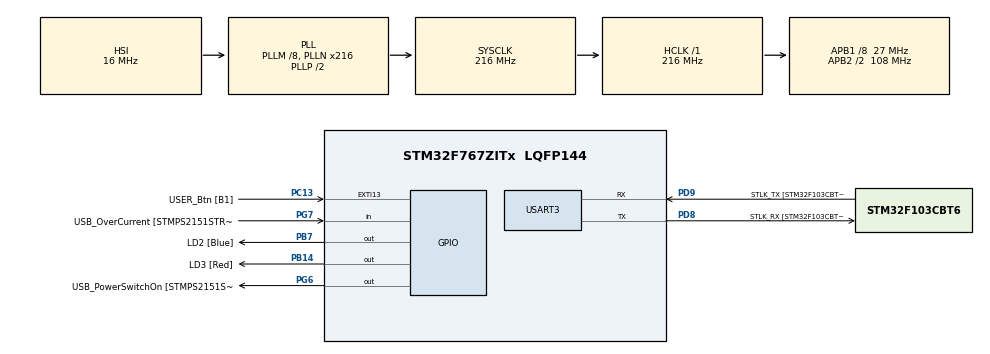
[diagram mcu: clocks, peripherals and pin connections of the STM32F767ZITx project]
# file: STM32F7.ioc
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Mcu.Family=STM32F7
Mcu.Name=STM32F767ZITx
Mcu.Package=LQFP144
NVIC.EXTI15_10_IRQn=true\:0\:0\:false\:false\:true\:true
NVIC.PriorityGroup=NVIC_PRIORITYGROUP_4
NVIC.TIM6_DAC_IRQn=true\:0\:0\:false\:false\:true\:true
NVIC.USART3_IRQn=true\:0\:0\:false\:false\:true\:true
NVIC.WWDG_IRQn=true\:0\:0\:false\:false\:true\:true
PA1.Signal=ETH_RX_CLK
PA10.GPIO_Label=USB_ID
PA10.Signal=USB_OTG_FS_ID
PA11.GPIO_Label=USB_DM
PA11.Signal=USB_OTG_FS_DM
PA12.GPIO_Label=USB_DP
PA12.Signal=USB_OTG_FS_DP
PA13.GPIO_Label=TMS
PA13.Mode=Serial_Wire
PA13.Signal=SYS_JTMS-SWDIO
PA14.GPIO_Label=TCK
PA14.Mode=Serial_Wire
PA14.Signal=SYS_JTCK-SWCLK
PA2.GPIO_Label=RMII_MDIO [LAN8742A-CZ-TR_MDIO]
PA2.Signal=ETH_MDIO
PA7.Signal=ETH_RX_DV
PA8.GPIO_Label=USB_SOF [TP1]
PA8.Signal=USB_OTG_FS_SOF
PA9.GPIO_Label=USB_VBUS
PA9.Signal=USB_OTG_FS_VBUS
PB13.GPIO_Label=RMII_TXD1 [LAN8742A-CZ-TR_TXD1]
PB13.Signal=ETH_TXD1
PB14.GPIO_Label=LD3 [Red]
PB14.Signal=GPIO_Output
PB3.GPIO_Label=SW0
PB3.Signal=SYS_JTDO-SWO
PB7.GPIO_Label=LD2 [Blue]
PB7.Signal=GPIO_Output
PC1.GPIO_Label=RMII_MDC [LAN8742A-CZ-TR_MDC]
PC1.Signal=ETH_MDC
PC13.GPIO_Label=USER_Btn [B1]
PC13.Signal=GPXTI13
PC14/OSC32_IN.Signal=RCC_OSC32_IN
PC15/OSC32_OUT.Signal=RCC_OSC32_OUT
PC4.GPIO_Label=RMII_RXD0 [LAN8742A-CZ-TR_RXD0]
PC4.Signal=ETH_RXD0
PC5.GPIO_Label=RMII_RXD1 [LAN8742A-CZ-TR_RXD1]
PC5.Signal=ETH_RXD1
PD8.GPIO_Label=STLK_RX [STM32F103CBT6_PA3]
PD8.Mode=Asynchronous
PD8.Signal=USART3_TX
PD9.GPIO_Label=STLK_TX [STM32F103CBT6_PA2]
PD9.Mode=Asynchronous
PD9.Signal=USART3_RX
PG11.GPIO_Label=RMII_TX_EN [LAN8742A-CZ-TR_TXEN]
PG11.Signal=ETH_TX_EN
PG13.GPIO_Label=RMII_TXD0 [LAN8742A-CZ-TR_TXD0]
PG13.Signal=ETH_TXD0
PG6.GPIO_Label=USB_PowerSwitchOn [STMPS2151STR_EN]
PG6.Signal=GPIO_Output
PG7.GPIO_Label=USB_OverCurrent [STMPS2151STR_FAULT]
PG7.Signal=GPIO_Input
PH0/OSC_IN.GPIO_Label=MCO [STM32F103CBT6_PA8]
PH0/OSC_IN.Signal=RCC_OSC_IN
PH1/OSC_OUT.Signal=RCC_OSC_OUT
ProjectManager.HeapSize=0x200
ProjectManager.StackSize=0x400
ProjectManager.TargetToolchain=Makefile
RCC.48MHZClocksFreq_Value=24000000
RCC.AHBFreq_Value=216000000
RCC.APB1CLKDivider=RCC_HCLK_DIV8
RCC.APB1Freq_Value=27000000
RCC.APB1TimFreq_Value=54000000
RCC.APB2CLKDivider=RCC_HCLK_DIV2
RCC.APB2Freq_Value=108000000
RCC.APB2TimFreq_Value=216000000
RCC.CortexFreq_Value=216000000
RCC.HCLKFreq_Value=216000000
RCC.HSE_VALUE=16000000
RCC.HSI_VALUE=16000000
RCC.LSE_VALUE=32768
RCC.PLLM=8
RCC.PLLMUL=RCC_PLL_MUL9
RCC.PLLN=216
RCC.PLLQ=9
RCC.PRESCALERUSB=RCC_USBCLKSOURCE_PLL_DIV1_5
RCC.SYSCLKFreq_VALUE=216000000
RCC.SYSCLKSource=RCC_SYSCLKSOURCE_PLLCLK
RCC.SYSCLKSourceVirtual=RCC_SYSCLKSOURCE_PLLCLK
RCC.USART3CLockSelection=RCC_USART3CLKSOURCE_HSI
RCC.USBFreq_Value=48000000
RCC.VCOOutputFreq_Value=432000000
TIM6.Period=500
TIM6.Prescaler=53999
TIM6.TIM_MasterOutputTrigger=TIM_TRGO_UPDATE
USART3.VirtualMode-Asynchronous=VM_ASYNC
USART3.WordLength=WORDLENGTH_8B
VP_TIM6_VS_ClockSourceINT.Mode=Enable_Timer
VP_WWDG_VS_WWDG.Mode=WWDG_Activate
WWDG.Counter=127
WWDG.EWIMode=WWDG_EWI_ENABLE
WWDG.Prescaler=WWDG_PRESCALER_8
WWDG.Window=120
board=NUCLEO-F767ZI

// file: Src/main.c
/**
  ******************************************************************************
  * @file           : main.c
  * @brief          : Main program body
  ******************************************************************************
  ** This notice applies to any and all portions of this file
  * that are not between comment pairs USER CODE BEGIN and
  * USER CODE END. Other portions of this file, whether
  * inserted by the user or by software development tools
  * are owned by their respective copyright owners.
  *
  * COPYRIGHT(c) 2018 STMicroelectronics
  *
  * Redistribution and use in source and binary forms, with or without modification,
  * are permitted provided that the following conditions are met:
  *   1. Redistributions of source code must retain the above copyright notice,
  *      this list of conditions and the following disclaimer.
  *   2. Redistributions in binary form must reproduce the above copyright notice,
  *      this list of conditions and the following disclaimer in the documentation
  *      and/or other materials provided with the distribution.
  *   3. Neither the name of STMicroelectronics nor the names of its contributors
  *      may be used to endorse or promote products derived from this software
  *      without specific prior written permission.
  *
  * THIS SOFTWARE IS PROVIDED BY THE COPYRIGHT HOLDERS AND CONTRIBUTORS "AS IS"
  * AND ANY EXPRESS OR IMPLIED WARRANTIES, INCLUDING, BUT NOT LIMITED TO, THE
  * IMPLIED WARRANTIES OF MERCHANTABILITY AND FITNESS FOR A PARTICULAR PURPOSE ARE
  * DISCLAIMED. IN NO EVENT SHALL THE COPYRIGHT HOLDER OR CONTRIBUTORS BE LIABLE
  * FOR ANY DIRECT, INDIRECT, INCIDENTAL, SPECIAL, EXEMPLARY, OR CONSEQUENTIAL
  * DAMAGES (INCLUDING, BUT NOT LIMITED TO, PROCUREMENT OF SUBSTITUTE GOODS OR
  * SERVICES; LOSS OF USE, DATA, OR PROFITS; OR BUSINESS INTERRUPTION) HOWEVER
  * CAUSED AND ON ANY THEORY OF LIABILITY, WHETHER IN CONTRACT, STRICT LIABILITY,
  * OR TORT (INCLUDING NEGLIGENCE OR OTHERWISE) ARISING IN ANY WAY OUT OF THE USE
  * OF THIS SOFTWARE, EVEN IF ADVISED OF THE POSSIBILITY OF SUCH DAMAGE.
  *
  ******************************************************************************
  */
#include "main.h"
#include "stm32f7xx_hal.h"

/* USER CODE BEGIN Includes */
#include "stm32f7xx_hal_usart.h"
#include "console.h"
#include "fifo.h"
/* USER CODE END Includes */

TIM_HandleTypeDef htim6;

UART_HandleTypeDef huart3;

WWDG_HandleTypeDef hwwdg;

/* USER CODE BEGIN PV */
/* Private variables ---------------------------------------------------------*/
uint8_t buf;
/* USER CODE END PV */

void SystemClock_Config(void);
static void MX_GPIO_Init(void);
static void MX_TIM6_Init(void);
static void MX_USART3_UART_Init(void);
static void MX_WWDG_Init(void);

/* USER CODE BEGIN PFP */
/* Private function prototypes -----------------------------------------------*/
void tim6_it_toggle();

/* USER CODE END PFP */

/* USER CODE BEGIN 0 */
short tim6_it_toggle_state = 1;
uint8_t r_buf[128];
/* USER CODE END 0 */

int main(void)
{

  /* MCU Configuration----------------------------------------------------------*/

  /* Reset of all peripherals, Initializes the Flash interface and the Systick. */
  HAL_Init();

  /* Configure the system clock */
  SystemClock_Config();

  /* Initialize all configured peripherals */
  MX_GPIO_Init();
  MX_TIM6_Init();
  MX_USART3_UART_Init();
  MX_WWDG_Init();
  /* USER CODE BEGIN 2 */

  HAL_UART_Transmit(&huart3, "Run, microcontroller, run!\n", 27, 10);

  HAL_UART_Receive_IT(&huart3, &buf, 1);

#if 0
  HAL_TIM_Base_Start_IT(&htim6);
#endif

  /* USER CODE END 2 */

  /* Infinite loop */
  /* USER CODE BEGIN WHILE */

  while (1)
  {
    // HAL_WWDG_Refresh(&hwwdg);

    if(get_receive_finish()) {
      uint16_t rbuf_index = 0;
      while(FIFO_DataSize()){
        r_buf[rbuf_index] = FIFO_FrontPop();
        if(rbuf_index < sizeof(r_buf))
          rbuf_index++;
      }
      console_handler(r_buf, rbuf_index);
      memset(r_buf, 0, rbuf_index);
      set_receive_finish(0);
    }

  /* USER CODE END WHILE */

  }

}

void SystemClock_Config(void)
{

  RCC_OscInitTypeDef RCC_OscInitStruct;
  RCC_ClkInitTypeDef RCC_ClkInitStruct;
  RCC_PeriphCLKInitTypeDef PeriphClkInitStruct;

    /**Configure the main internal regulator output voltage
    */
  __HAL_RCC_PWR_CLK_ENABLE();

  __HAL_PWR_VOLTAGESCALING_CONFIG(PWR_REGULATOR_VOLTAGE_SCALE1);

    /**Initializes the CPU, AHB and APB busses clocks
    */
  RCC_OscInitStruct.OscillatorType = RCC_OSCILLATORTYPE_HSI;
  RCC_OscInitStruct.HSIState = RCC_HSI_ON;
  RCC_OscInitStruct.HSICalibrationValue = 16;
  RCC_OscInitStruct.PLL.PLLState = RCC_PLL_ON;
  RCC_OscInitStruct.PLL.PLLSource = RCC_PLLSOURCE_HSI;
  RCC_OscInitStruct.PLL.PLLM = 8;
  RCC_OscInitStruct.PLL.PLLN = 216;
  RCC_OscInitStruct.PLL.PLLP = RCC_PLLP_DIV2;
  RCC_OscInitStruct.PLL.PLLQ = 9;
  if (HAL_RCC_OscConfig(&RCC_OscInitStruct) != HAL_OK)
  {
    _Error_Handler(__FILE__, __LINE__);
  }

    /**Activate the Over-Drive mode
    */
  if (HAL_PWREx_EnableOverDrive() != HAL_OK)
  {
    _Error_Handler(__FILE__, __LINE__);
  }

    /**Initializes the CPU, AHB and APB busses clocks
    */
  RCC_ClkInitStruct.ClockType = RCC_CLOCKTYPE_HCLK|RCC_CLOCKTYPE_SYSCLK
                              |RCC_CLOCKTYPE_PCLK1|RCC_CLOCKTYPE_PCLK2;
  RCC_ClkInitStruct.SYSCLKSource = RCC_SYSCLKSOURCE_PLLCLK;
  RCC_ClkInitStruct.AHBCLKDivider = RCC_SYSCLK_DIV1;
  RCC_ClkInitStruct.APB1CLKDivider = RCC_HCLK_DIV8;
  RCC_ClkInitStruct.APB2CLKDivider = RCC_HCLK_DIV2;

  if (HAL_RCC_ClockConfig(&RCC_ClkInitStruct, FLASH_LATENCY_7) != HAL_OK)
  {
    _Error_Handler(__FILE__, __LINE__);
  }

  PeriphClkInitStruct.PeriphClockSelection = RCC_PERIPHCLK_USART3;
  PeriphClkInitStruct.Usart3ClockSelection = RCC_USART3CLKSOURCE_HSI;
  if (HAL_RCCEx_PeriphCLKConfig(&PeriphClkInitStruct) != HAL_OK)
  {
    _Error_Handler(__FILE__, __LINE__);
  }

    /**Configure the Systick interrupt time
    */
  HAL_SYSTICK_Config(HAL_RCC_GetHCLKFreq()/1000);

    /**Configure the Systick
    */
  HAL_SYSTICK_CLKSourceConfig(SYSTICK_CLKSOURCE_HCLK);

  /* SysTick_IRQn interrupt configuration */
  HAL_NVIC_SetPriority(SysTick_IRQn, 0, 0);
}

/* TIM6 init function */
static void MX_TIM6_Init(void)
{

  TIM_MasterConfigTypeDef sMasterConfig;

  htim6.Instance = TIM6;
  htim6.Init.Prescaler = 53999;
  htim6.Init.CounterMode = TIM_COUNTERMODE_UP;
  htim6.Init.Period = 500;
  htim6.Init.AutoReloadPreload = TIM_AUTORELOAD_PRELOAD_DISABLE;
  if (HAL_TIM_Base_Init(&htim6) != HAL_OK)
  {
    _Error_Handler(__FILE__, __LINE__);
  }

  sMasterConfig.MasterOutputTrigger = TIM_TRGO_UPDATE;
  sMasterConfig.MasterSlaveMode = TIM_MASTERSLAVEMODE_DISABLE;
  if (HAL_TIMEx_MasterConfigSynchronization(&htim6, &sMasterConfig) != HAL_OK)
  {
    _Error_Handler(__FILE__, __LINE__);
  }

}

/* USART3 init function */
static void MX_USART3_UART_Init(void)
{

  huart3.Instance = USART3;
  huart3.Init.BaudRate = 115200;
  huart3.Init.WordLength = UART_WORDLENGTH_8B;
  huart3.Init.StopBits = UART_STOPBITS_1;
  huart3.Init.Parity = UART_PARITY_NONE;
  huart3.Init.Mode = UART_MODE_TX_RX;
  huart3.Init.HwFlowCtl = UART_HWCONTROL_NONE;
  huart3.Init.OverSampling = UART_OVERSAMPLING_16;
  huart3.Init.OneBitSampling = UART_ONE_BIT_SAMPLE_DISABLE;
  huart3.AdvancedInit.AdvFeatureInit = UART_ADVFEATURE_NO_INIT;
  if (HAL_UART_Init(&huart3) != HAL_OK)
  {
    _Error_Handler(__FILE__, __LINE__);
  }

}

/* WWDG init function */
static void MX_WWDG_Init(void)
{

  hwwdg.Instance = WWDG;
  hwwdg.Init.Prescaler = WWDG_PRESCALER_8;
  hwwdg.Init.Window = 120;
  hwwdg.Init.Counter = 127;
  hwwdg.Init.EWIMode = WWDG_EWI_ENABLE;
  if (HAL_WWDG_Init(&hwwdg) != HAL_OK)
  {
    _Error_Handler(__FILE__, __LINE__);
  }

}

/** Configure pins as
        * Analog
        * Input
        * Output
        * EVENT_OUT
        * EXTI
     PC1   ------> ETH_MDC
     PA1   ------> ETH_RX_CLK
     PA2   ------> ETH_MDIO
     PA7   ------> ETH_RX_DV
     PC4   ------> ETH_RXD0
     PC5   ------> ETH_RXD1
     PB13   ------> ETH_TXD1
     PA8   ------> USB_OTG_FS_SOF
     PA9   ------> USB_OTG_FS_VBUS
     PA10   ------> USB_OTG_FS_ID
     PA11   ------> USB_OTG_FS_DM
     PA12   ------> USB_OTG_FS_DP
     PG11   ------> ETH_TX_EN
     PG13   ------> ETH_TXD0
*/
static void MX_GPIO_Init(void)
{

  GPIO_InitTypeDef GPIO_InitStruct;

  /* GPIO Ports Clock Enable */
  __HAL_RCC_GPIOC_CLK_ENABLE();
  __HAL_RCC_GPIOH_CLK_ENABLE();
  __HAL_RCC_GPIOA_CLK_ENABLE();
  __HAL_RCC_GPIOB_CLK_ENABLE();
  __HAL_RCC_GPIOD_CLK_ENABLE();
  __HAL_RCC_GPIOG_CLK_ENABLE();

  /*Configure GPIO pin Output Level */
  HAL_GPIO_WritePin(GPIOB, LD3_Pin|LD2_Pin, GPIO_PIN_RESET);

  /*Configure GPIO pin Output Level */
  HAL_GPIO_WritePin(USB_PowerSwitchOn_GPIO_Port, USB_PowerSwitchOn_Pin, GPIO_PIN_RESET);

  /*Configure GPIO pin : USER_Btn_Pin */
  GPIO_InitStruct.Pin = USER_Btn_Pin;
  GPIO_InitStruct.Mode = GPIO_MODE_IT_RISING;
  GPIO_InitStruct.Pull = GPIO_NOPULL;
  HAL_GPIO_Init(USER_Btn_GPIO_Port, &GPIO_InitStruct);

  /*Configure GPIO pins : RMII_MDC_Pin RMII_RXD0_Pin RMII_RXD1_Pin */
  GPIO_InitStruct.Pin = RMII_MDC_Pin|RMII_RXD0_Pin|RMII_RXD1_Pin;
  GPIO_InitStruct.Mode = GPIO_MODE_AF_PP;
  GPIO_InitStruct.Pull = GPIO_NOPULL;
  GPIO_InitStruct.Speed = GPIO_SPEED_FREQ_VERY_HIGH;
  GPIO_InitStruct.Alternate = GPIO_AF11_ETH;
  HAL_GPIO_Init(GPIOC, &GPIO_InitStruct);

  /*Configure GPIO pins : PA1 RMII_MDIO_Pin PA7 */
  GPIO_InitStruct.Pin = GPIO_PIN_1|RMII_MDIO_Pin|GPIO_PIN_7;
  GPIO_InitStruct.Mode = GPIO_MODE_AF_PP;
  GPIO_InitStruct.Pull = GPIO_NOPULL;
  GPIO_InitStruct.Speed = GPIO_SPEED_FREQ_VERY_HIGH;
  GPIO_InitStruct.Alternate = GPIO_AF11_ETH;
  HAL_GPIO_Init(GPIOA, &GPIO_InitStruct);

  /*Configure GPIO pin : RMII_TXD1_Pin */
  GPIO_InitStruct.Pin = RMII_TXD1_Pin;
  GPIO_InitStruct.Mode = GPIO_MODE_AF_PP;
  GPIO_InitStruct.Pull = GPIO_NOPULL;
  GPIO_InitStruct.Speed = GPIO_SPEED_FREQ_VERY_HIGH;
  GPIO_InitStruct.Alternate = GPIO_AF11_ETH;
  HAL_GPIO_Init(RMII_TXD1_GPIO_Port, &GPIO_InitStruct);

  /*Configure GPIO pins : LD3_Pin LD2_Pin */
  GPIO_InitStruct.Pin = LD3_Pin|LD2_Pin;
  GPIO_InitStruct.Mode = GPIO_MODE_OUTPUT_PP;
  GPIO_InitStruct.Pull = GPIO_NOPULL;
  GPIO_InitStruct.Speed = GPIO_SPEED_FREQ_LOW;
  HAL_GPIO_Init(GPIOB, &GPIO_InitStruct);

  /*Configure GPIO pin : USB_PowerSwitchOn_Pin */
  GPIO_InitStruct.Pin = USB_PowerSwitchOn_Pin;
  GPIO_InitStruct.Mode = GPIO_MODE_OUTPUT_PP;
  GPIO_InitStruct.Pull = GPIO_NOPULL;
  GPIO_InitStruct.Speed = GPIO_SPEED_FREQ_LOW;
  HAL_GPIO_Init(USB_PowerSwitchOn_GPIO_Port, &GPIO_InitStruct);

  /*Configure GPIO pin : USB_OverCurrent_Pin */
  GPIO_InitStruct.Pin = USB_OverCurrent_Pin;
  GPIO_InitStruct.Mode = GPIO_MODE_INPUT;
  GPIO_InitStruct.Pull = GPIO_NOPULL;
  HAL_GPIO_Init(USB_OverCurrent_GPIO_Port, &GPIO_InitStruct);

  /*Configure GPIO pins : USB_SOF_Pin USB_ID_Pin USB_DM_Pin USB_DP_Pin */
  GPIO_InitStruct.Pin = USB_SOF_Pin|USB_ID_Pin|USB_DM_Pin|USB_DP_Pin;
  GPIO_InitStruct.Mode = GPIO_MODE_AF_PP;
  GPIO_InitStruct.Pull = GPIO_NOPULL;
  GPIO_InitStruct.Speed = GPIO_SPEED_FREQ_VERY_HIGH;
  GPIO_InitStruct.Alternate = GPIO_AF10_OTG_FS;
  HAL_GPIO_Init(GPIOA, &GPIO_InitStruct);

  /*Configure GPIO pin : USB_VBUS_Pin */
  GPIO_InitStruct.Pin = USB_VBUS_Pin;
  GPIO_InitStruct.Mode = GPIO_MODE_INPUT;
  GPIO_InitStruct.Pull = GPIO_NOPULL;
  HAL_GPIO_Init(USB_VBUS_GPIO_Port, &GPIO_InitStruct);

  /*Configure GPIO pins : RMII_TX_EN_Pin RMII_TXD0_Pin */
  GPIO_InitStruct.Pin = RMII_TX_EN_Pin|RMII_TXD0_Pin;
  GPIO_InitStruct.Mode = GPIO_MODE_AF_PP;
  GPIO_InitStruct.Pull = GPIO_NOPULL;
  GPIO_InitStruct.Speed = GPIO_SPEED_FREQ_VERY_HIGH;
  GPIO_InitStruct.Alternate = GPIO_AF11_ETH;
  HAL_GPIO_Init(GPIOG, &GPIO_InitStruct);

  /* EXTI interrupt init*/
  HAL_NVIC_SetPriority(EXTI15_10_IRQn, 0, 0);
  HAL_NVIC_EnableIRQ(EXTI15_10_IRQn);

}

/* USER CODE BEGIN 4 */
void HAL_GPIO_EXTI_Callback(uint16_t GPIO_Pin)
{
  if(GPIO_Pin == GPIO_PIN_13)
    tim6_it_toggle();
}

void tim6_it_toggle()
{
  if (tim6_it_toggle_state) {
    HAL_TIM_Base_Stop_IT(&htim6);
    HAL_GPIO_WritePin(GPIOB, GPIO_PIN_7, GPIO_PIN_SET);
    tim6_it_toggle_state = 0;
  }
  else {
    HAL_TIM_Base_Start_IT(&htim6);
    tim6_it_toggle_state = 1;
  }
}

/**
  * @brief  Rx Transfer completed callback
  * @param  UartHandle: UART handle
  * @note   This example shows a simple way to report end of DMA Rx transfer, and
  *         you can add your own implementation.
  * @retval None
  */

void HAL_UART_RxCpltCallback(UART_HandleTypeDef *UartHandle)
{
  /* Set transmission flag: transfer complete */
  if(UartHandle->Instance == USART3) {
    FIFO_Push(buf);
    if(buf == '\n')
      set_receive_finish(1);
    HAL_UART_Receive_IT(&huart3, &buf, 1);
  }
}

/* USER CODE END 4 */

void _Error_Handler(char *file, int line)
{
  while(1)
  {
  }
}

/************************ (C) COPYRIGHT STMicroelectronics *****END OF FILE****/
